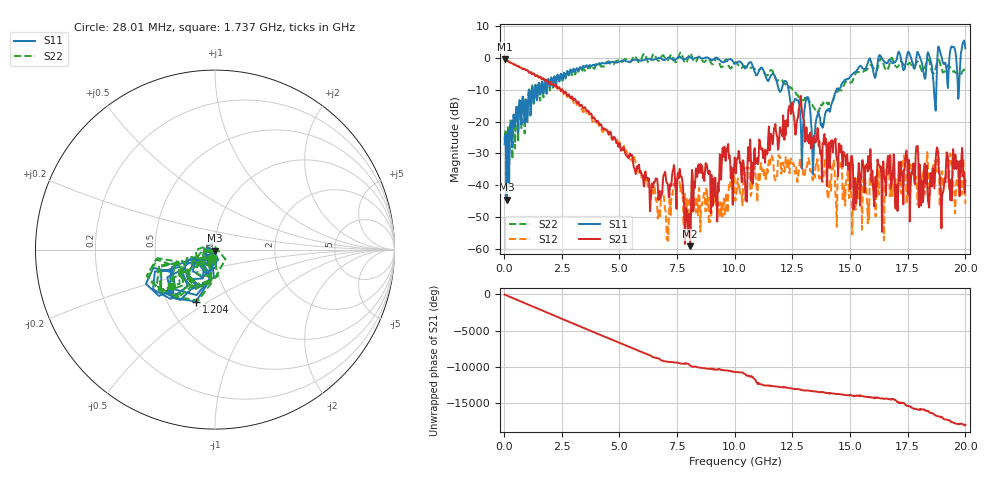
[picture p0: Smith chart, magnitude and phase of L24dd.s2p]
! S Parameters saved at 09:50:19 07/03/07
# HZ DB S R 50
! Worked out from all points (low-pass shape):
!   714 points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, 28.01 MHz to 20 GHz, reference 50 ohm
!   highest |S21| = -0.37 dB at 28.01 MHz (marker M1); lowest = -59.2 dB at 8.067 GHz (marker M2)
!   |S21| within 3 dB of the highest: start of sweep to 807.9 MHz
!   lowest |S11| = -44.6 dB at 112 MHz (marker M3), VSWR 1.01, Z = 50.1 - j0.579 ohm
!   |S11| at or under -10 dB: start of sweep to 1.209 GHz; 11.92 GHz to 12.02 GHz (105.9 MHz wide, 0.884 % of centre); 12.34 GHz to 14.41 GHz (2.07 GHz wide, 15.5 % of centre) (the widest 3 of 10)
!   |S22| runs from -37.0 to 1.8 dB; largest |S21 - S12| = 0.26
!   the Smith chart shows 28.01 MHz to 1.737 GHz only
!   S11 on the Smith chart (normalised r, x): 28.01 MHz: 0.96, -0.07; 1.204 GHz: 0.69, -0.44; 1.737 GHz: 0.55, -0.28
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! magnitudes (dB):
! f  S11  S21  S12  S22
! 28.01 MHz  -27.1  -0.4  -0.3  -25.7
! 112 MHz  -44.6  -0.7  -0.7  -37.0
! 1.204 GHz  -10.2  -5.0  -4.8  -9.4
! 1.737 GHz  -9.4  -6.5  -6.8  -10.0
! 3.361 GHz  -3.4  -14.7  -15.9  -4.1
! 6.695 GHz  0.0  -44.7  -48.9  -0.9
! 7.619 GHz  0.4  -34.9  -39.7  1.4
! 8.067 GHz  0.3  -59.2  -45.6  1.5
! 8.403 GHz  0.2  -34.8  -49.5  0.0
! 9.216 GHz  0.1  -43.8  -47.2  0.2
! 10.03 GHz  -1.7  -32.4  -45.0  -1.3
! 12.41 GHz  -13.8  -15.6  -32.3  -9.4
! 12.91 GHz  -34.8  -16.4  -32.3  -13.3
! 13.17 GHz  -12.4  -26.2  -32.2  -12.6
! 13.36 GHz  -27.3  -25.0  -38.2  -14.6
! 15.24 GHz  -4.3  -40.4  -47.8  -4.9
! 16.69 GHz  -0.5  -36.3  -34.9  -2.4
! 18.43 GHz  0.8  -47.1  -44.5  -0.8
! 18.66 GHz  -12.2  -41.0  -39.1  -4.4
! 18.88 GHz  2.7  -36.5  -46.6  -1.0
! 19.69 GHz  -12.8  -34.2  -35.6  -5.2
! 20 GHz  3.1  -38.6  -46.0  -3.7
